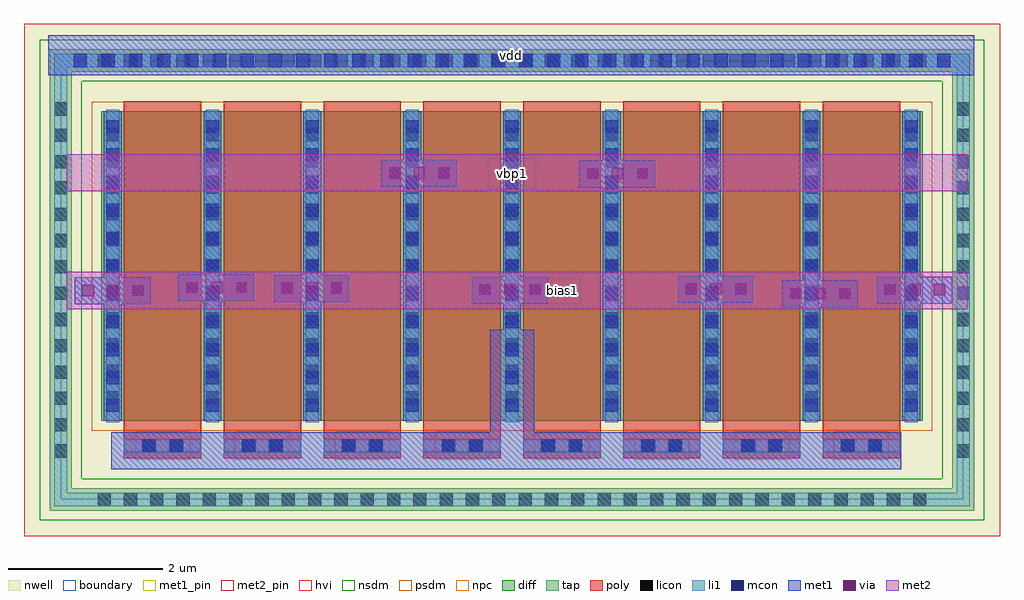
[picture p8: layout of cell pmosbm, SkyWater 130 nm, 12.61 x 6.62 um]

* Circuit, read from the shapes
.subckt pmosbm bias1 vbp1 vdd
XM1 bias1 bias1 bias1 vdd sky130_fd_pr__pfet_g5v0d10v5 w=4 l=1 m=4
XM2 vbp1 bias1 bias1 vdd sky130_fd_pr__pfet_g5v0d10v5 w=4 l=1 m=4
.ends

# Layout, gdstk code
from math import pi, radians
import gdstk
lib = gdstk.Library(unit=1e-6, precision=1e-09)
def R(c, l, rs):  # rectangles x0, y0, x1, y1
    for r in rs: c.add(gdstk.rectangle(r[:2], r[2:], *l))
def A(c, l, x, y, w, h, nx, ny, dx, dy):  # array of equal rectangles
    R(c, l, [(x+i*dx, y+j*dy, x+i*dx+w, y+j*dy+h) for i in range(nx) for j in range(ny)])
nwell = (64, 20)
diff = (65, 20)
tap = (65, 44)
poly = (66, 20)
licon = (66, 44)
li1 = (67, 20)
mcon = (67, 44)
met1_pin = (68, 16)
met1 = (68, 20)
via = (68, 44)
met2_pin = (69, 16)
met2 = (69, 20)
hvi = (75, 20)
nsdm = (93, 44)
psdm = (94, 20)
npc = (95, 20)
boundary = (235, 4)

viam1m2_1u = lib.new_cell('viam1m2_1u')
R(viam1m2_1u, met1, [(-0.02,-0.04,0.33,0.94)])
A(viam1m2_1u, via, 0.075, 0.06, 0.15, 0.15, 1, 3, 0, 0.32)
R(viam1m2_1u, met2, [(-0.02,-0.04,0.33,0.94)])

sky130_fd_pr__pfet_g5v0d = lib.new_cell('sky130_fd_pr__pfet_g5v0d10v5_6ZUVAQ')
R(sky130_fd_pr__pfet_g5v0d, nwell, [(-6.305,-3.31,6.305,3.31)])
R(sky130_fd_pr__pfet_g5v0d, diff, [(-5.305,-1.82,5.305,2.18)])
R(sky130_fd_pr__pfet_g5v0d, tap, [(-5.975,-2.98,5.975,-2.69), (-5.975,-2.69,-5.685,2.69), (5.685,-2.69,5.975,2.69), (-5.975,2.69,5.975,2.98)])
A(sky130_fd_pr__pfet_g5v0d, poly, -5.015, -2.305, 1, 4.615, 8, 1, 1.29, 0)
A(sky130_fd_pr__pfet_g5v0d, licon, -5.355, -2.92, 0.17, 0.17, 32, 2, 0.34, 5.67)
A(sky130_fd_pr__pfet_g5v0d, licon, -5.915, -2.295, 0.17, 0.17, 1, 14, 0, 0.34)
A(sky130_fd_pr__pfet_g5v0d, licon, 5.745, -2.295, 0.17, 0.17, 1, 14, 0, 0.34)
A(sky130_fd_pr__pfet_g5v0d, licon, -5.245, -1.605, 0.17, 0.17, 9, 11, 1.29, 0.34)
R(sky130_fd_pr__pfet_g5v0d, licon, [(-4.77,-2.225,-4.6,-2.055), (-4.43,-2.225,-4.26,-2.055), (-3.48,-2.225,-3.31,-2.055), (-3.14,-2.225,-2.97,-2.055), (-2.19,-2.225,-2.02,-2.055), (-1.85,-2.225,-1.68,-2.055), (-0.9,-2.225,-0.73,-2.055), (-0.56,-2.225,-0.39,-2.055), (0.39,-2.225,0.56,-2.055), (0.73,-2.225,0.9,-2.055), (1.68,-2.225,1.85,-2.055), (2.02,-2.225,2.19,-2.055), (2.97,-2.225,3.14,-2.055), (3.31,-2.225,3.48,-2.055), (4.26,-2.225,4.43,-2.055), (4.6,-2.225,4.77,-2.055)])
A(sky130_fd_pr__pfet_g5v0d, li1, -5.015, -2.225, 1, 0.17, 8, 1, 1.29, 0)
A(sky130_fd_pr__pfet_g5v0d, li1, -5.245, -1.84, 0.17, 4.04, 9, 1, 1.29, 0)
R(sky130_fd_pr__pfet_g5v0d, li1, [(-5.915,-2.92,5.915,-2.75), (-5.915,-2.75,-5.745,2.75), (5.745,-2.75,5.915,2.75), (-5.915,2.75,5.915,2.92)])
A(sky130_fd_pr__pfet_g5v0d, mcon, -5.245, -1.705, 0.17, 0.17, 9, 11, 1.29, 0.36)
A(sky130_fd_pr__pfet_g5v0d, mcon, -5.665, 2.75, 0.17, 0.17, 32, 1, 0.36, 0)
R(sky130_fd_pr__pfet_g5v0d, mcon, [(-4.78,-2.225,-4.61,-2.055), (-4.42,-2.225,-4.25,-2.055), (-3.49,-2.225,-3.32,-2.055), (-3.13,-2.225,-2.96,-2.055), (-2.2,-2.225,-2.03,-2.055), (-1.84,-2.225,-1.67,-2.055), (-0.91,-2.225,-0.74,-2.055), (-0.55,-2.225,-0.38,-2.055), (0.38,-2.225,0.55,-2.055), (0.74,-2.225,0.91,-2.055), (1.67,-2.225,1.84,-2.055), (2.03,-2.225,2.2,-2.055), (2.96,-2.225,3.13,-2.055), (3.32,-2.225,3.49,-2.055), (4.25,-2.225,4.42,-2.055), (4.61,-2.225,4.78,-2.055)])
A(sky130_fd_pr__pfet_g5v0d, met1, -4.995, -2.255, 0.96, 0.23, 8, 1, 1.29, 0)
A(sky130_fd_pr__pfet_g5v0d, met1, -5.275, -1.82, 0.23, 4, 9, 1, 1.29, 0)
R(sky130_fd_pr__pfet_g5v0d, met1, [(-5.805,2.72,5.805,2.95)])
R(sky130_fd_pr__pfet_g5v0d, hvi, [(-6.305,-3.31,6.305,3.31)])
R(sky130_fd_pr__pfet_g5v0d, nsdm, [(-6.1,-3.105,6.1,-2.565), (-6.1,-2.565,-5.56,2.565), (5.56,-2.565,6.1,2.565), (-6.1,2.565,6.1,3.105)])
R(sky130_fd_pr__pfet_g5v0d, psdm, [(-5.43,-1.945,5.43,2.305)])
A(sky130_fd_pr__pfet_g5v0d, npc, -4.87, -2.325, 0.71, 0.37, 8, 1, 1.29, 0)
R(sky130_fd_pr__pfet_g5v0d, boundary, [(-5.83,-2.835,5.83,2.835)])

pmosbm = lib.new_cell('pmosbm')
R(pmosbm, met1_pin, [(-0.16,5.48,11.8,6)])
R(pmosbm, met1, [(0.65,0.39,10.86,0.87), (5.55,0.87,6.12,2.19), (-0.16,5.48,11.8,6)])
R(pmosbm, met2_pin, [(6.25,2.53,6.72,2.86), (5.52,4,6.14,4.41)])
R(pmosbm, met2, [(0.08,2.46,11.72,2.94), (0.08,3.98,11.72,4.46)])
pmosbm.add(gdstk.Reference(viam1m2_1u, (8.01,2.87), rotation=3*pi/2))
pmosbm.add(gdstk.Reference(viam1m2_1u, (5.35,2.86), rotation=3*pi/2))
pmosbm.add(gdstk.Reference(viam1m2_1u, (10.58,2.86), rotation=3*pi/2))
pmosbm.add(gdstk.Reference(viam1m2_1u, (9.36,2.81), rotation=3*pi/2))
pmosbm.add(gdstk.Reference(viam1m2_1u, (2.79,2.88), rotation=3*pi/2))
pmosbm.add(gdstk.Reference(viam1m2_1u, (1.56,2.89), rotation=3*pi/2))
pmosbm.add(gdstk.Reference(viam1m2_1u, (0.22,2.85), rotation=3*pi/2))
pmosbm.add(gdstk.Reference(viam1m2_1u, (4.18,4.37), rotation=3*pi/2))
pmosbm.add(gdstk.Reference(viam1m2_1u, (6.74,4.36), rotation=3*pi/2))
pmosbm.add(gdstk.Reference(sky130_fd_pr__pfet_g5v0d, (5.83,2.835), rotation=pi, x_reflection=True))
pmosbm.add(gdstk.Label('vdd', (5.82,5.74), layer=68, texttype=5))
pmosbm.add(gdstk.Label('bias1', (6.485,2.695), layer=69, texttype=5))
pmosbm.add(gdstk.Label('vbp1', (5.83,4.205), layer=69, texttype=5))

lib.write_gds('pmosbm.gds')
